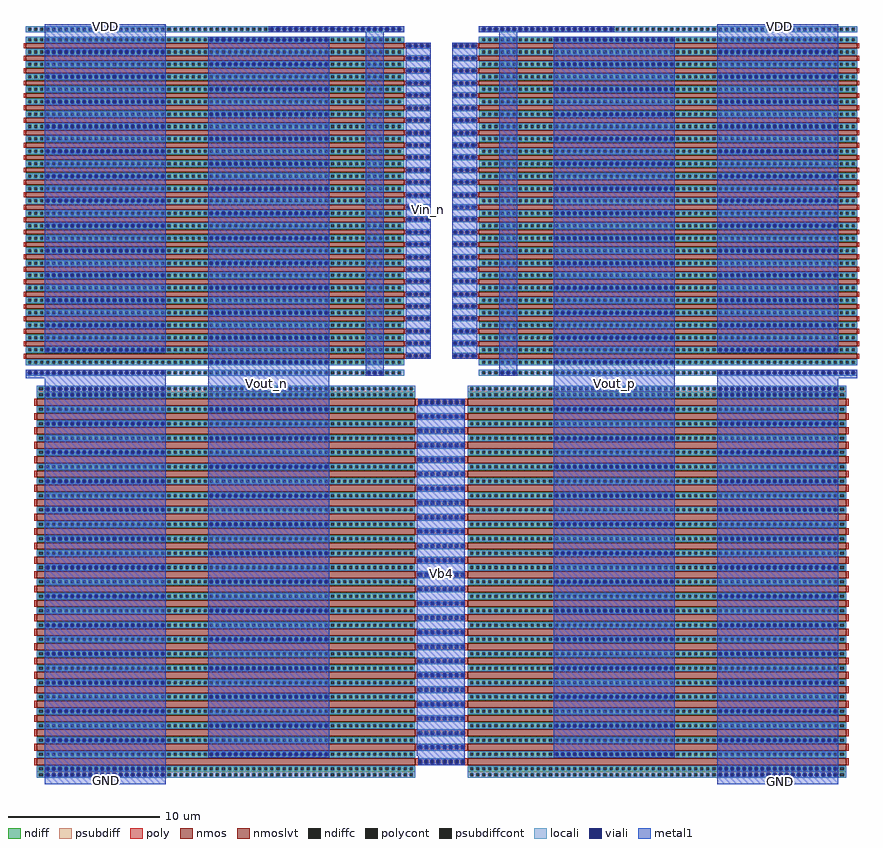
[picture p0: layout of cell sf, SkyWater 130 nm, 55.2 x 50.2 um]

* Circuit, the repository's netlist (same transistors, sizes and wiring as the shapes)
.subckt sf Vin_n VDD GND Vin_p Vout_n Vout_p Vb4
*.ipin Vin_n
*.iopin VDD
*.iopin GND
*.ipin Vin_p
*.opin Vout_n
*.opin Vout_p
*.iopin Vb4
X1 VDD Vb4 Vout_p Vin_p GND sf_half
X2 VDD Vb4 Vout_n Vin_n GND sf_half
.ends

* expanding   symbol:  tia-sscs-pico-2021/schem/sf_half.sym # of pins=5
* sym_path: /home/jared/Documents/GS_Design/tia-sscs-pico-2021/schem/sf_half.sym
* sch_path: /home/jared/Documents/GS_Design/tia-sscs-pico-2021/schem/sf_half.sch
.subckt sf_half  VDD g_d Vout g_u GND
*.iopin VDD
*.iopin g_u
*.iopin GND
*.iopin Vout
*.iopin g_d
XM17 VDD g_u Vout GND sky130_fd_pr__nfet_01v8_lvt L=0.32 W=650 nf=26 ad='int((nf+1)/2) * W/nf * 0.29'
+ as='int((nf+2)/2) * W/nf * 0.29' pd='2*int((nf+1)/2) * (W/nf + 0.29)' ps='2*int((nf+2)/2) * (W/nf + 0.29)'
+ nrd='0.29 / W' nrs='0.29 / W' sa=0 sb=0 sd=0 mult=1 m=1 
XM19 Vout g_d GND GND sky130_fd_pr__nfet_01v8 L=.45 W=650 nf=26 ad='int((nf+1)/2) * W/nf * 0.29' as='int((nf+2)/2) * W/nf * 0.29'
+ pd='2*int((nf+1)/2) * (W/nf + 0.29)' ps='2*int((nf+2)/2) * (W/nf + 0.29)' nrd='0.29 / W' nrs='0.29 / W'
+ sa=0 sb=0 sd=0 mult=1 m=1 
.ends

.GLOBAL GND
** flattened .save nodes
.end

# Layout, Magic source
magic
tech sky130A
<< metal1 >>
rect -5190 8475 -4390 8650
rect -750 8475 50 8650
rect -2805 7395 -2640 7455
rect -2500 7395 -2335 7455
rect -4110 6170 -3310 6310
rect -1830 6170 -1030 6310
rect -2735 3815 -2415 6130
rect -5190 3630 -4390 3680
rect -750 3630 50 3680
use sf_half  sf_half_1
transform -1 0 -2640 0 1 6260
box -70 -2630 2690 2390
use sf_half  sf_half_0
transform 1 0 -2500 0 1 6260
box -70 -2630 2690 2390
<< labels >>
rlabel metal1 -4785 3650 -4785 3650 1 GND
port 9 n
rlabel metal1 -2655 7425 -2655 7425 1 Vin_n
port 3 n
rlabel metal1 -3725 6275 -3725 6275 1 Vout_n
port 6 n
rlabel metal1 -4790 8635 -4790 8635 1 VDD
port 2 n
rlabel metal1 -1425 6275 -1425 6275 1 Vout_p
port 5 n
rlabel metal1 -2485 7425 -2485 7425 1 Vin_p
port 4 n
rlabel metal1 -340 8635 -340 8635 1 VDD
port 2 n
rlabel metal1 -330 3645 -330 3645 1 GND
port 9 n
rlabel metal1 -2570 5020 -2570 5020 1 Vb4
port 10 n
<< end >>

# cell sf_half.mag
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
